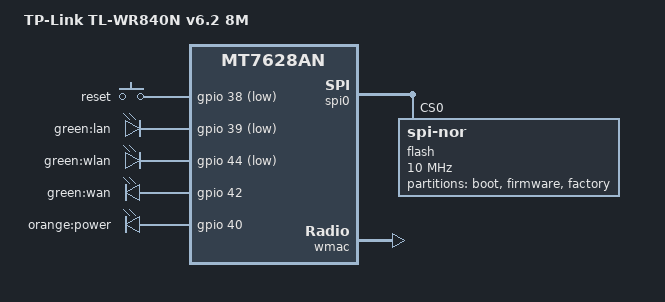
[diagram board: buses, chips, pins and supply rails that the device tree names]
#include "mt7628an.dtsi"

#include <dt-bindings/gpio/gpio.h>
#include <dt-bindings/input/input.h>

/ {
	compatible = "tplink,tl-wr840n-v6.2-8m", "mediatek,mt7628an-soc";
	model = "TP-Link TL-WR840N v6.2 8M";

	aliases {
		led-boot = &led_power_orange;
        led-failsafe = &led_power_green;
        led-running = &led_power_green;
        led-upgrade = &led_power_orange;
	};

	chosen {
		bootargs = "console=ttyS0,115200";
	};

	keys {
		compatible = "gpio-keys";

		reset {
			label = "reset";
			gpios = <&gpio 38 GPIO_ACTIVE_LOW>;
			linux,code = <KEY_RESTART>;
		};
	};

	leds {
		compatible = "gpio-leds";

        	lan {
            		label = "green:lan";
            		gpios = <&gpio 39 GPIO_ACTIVE_LOW>;
        	};

        	wlan {
            		label = "green:wlan";
            		gpios = <&gpio 44 GPIO_ACTIVE_LOW>;
        	};

        	led_power_green: wan {
            		label = "green:wan";
            		gpios = <&gpio 42 GPIO_ACTIVE_HIGH>;
        		};

        	led_power_orange: power {
            		label = "orange:power";
            		gpios = <&gpio 40 GPIO_ACTIVE_HIGH>;
        	};
	};
};

&spi0 {
	status = "okay";

	flash@0 {
		compatible = "jedec,spi-nor";
		reg = <0>;
		spi-max-frequency = <10000000>;

		partitions {
			compatible = "fixed-partitions";
			#address-cells = <1>;
			#size-cells = <1>;

			partition@0 {
				label = "boot";
				reg = <0x0 0x10000>;
				read-only;
			};

			partition@10000 {
				compatible = "tplink,firmware";
				label = "firmware";
				reg = <0x10000 0x7e0000>;
			};

			factory: partition@7f0000 {
				label = "factory";
				reg = <0x7f0000 0x10000>;
				read-only;
			};
		};
	};
};

&ehci {
	status = "disabled";
};

&ohci {
	status = "disabled";
};

&wmac {
	status = "okay";

	mediatek,mtd-eeprom = <&factory 0x0>;

	nvmem-cells = <&macaddr_factory_f100>;
	nvmem-cell-names = "mac-address";
};

&ethernet {
	nvmem-cells = <&macaddr_factory_f100>;
	nvmem-cell-names = "mac-address";
};

&esw {
	mediatek,portmap = <0x3e>;
};

&state_default {
	gpio {
		groups = "p1led_an", "p3led_an", "p4led_an", "perst";
		function = "gpio";
	};
};

&factory {
	compatible = "nvmem-cells";
	#address-cells = <1>;
	#size-cells = <1>;

	macaddr_factory_f100: macaddr@f100 {
		reg = <0xf100 0x6>;
	};
};
